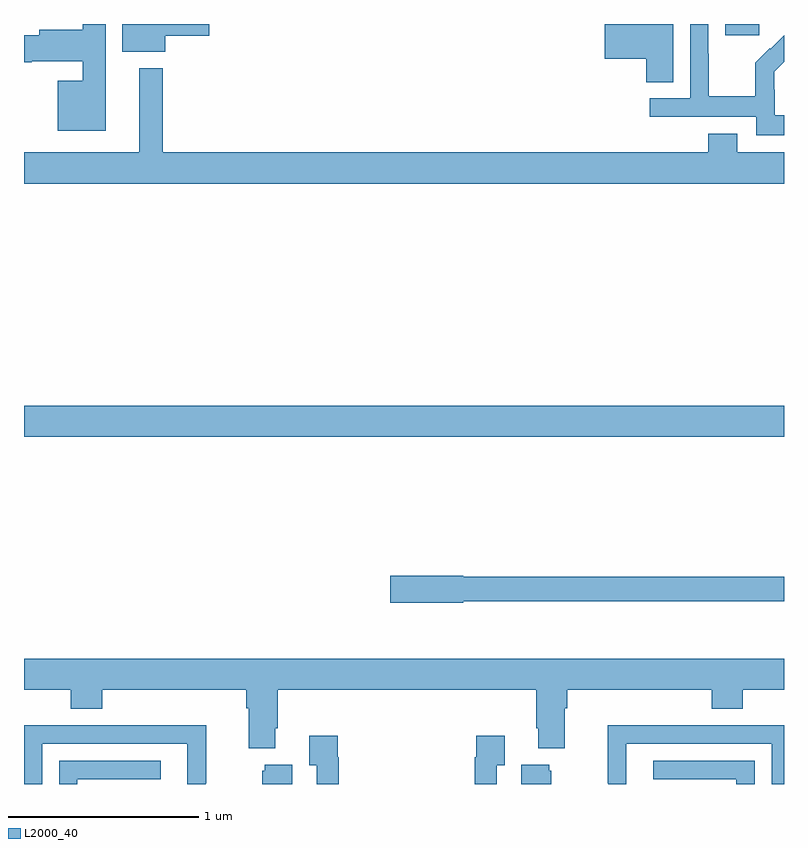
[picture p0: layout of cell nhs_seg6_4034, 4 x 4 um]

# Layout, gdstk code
import gdstk
lib = gdstk.Library(unit=1e-6, precision=1e-09)
def R(c, l, rs):  # rectangles x0, y0, x1, y1
    for r in rs: c.add(gdstk.rectangle(r[:2], r[2:], *l))
def P(c, l, *ps):  # polygons
    for p in ps: c.add(gdstk.Polygon(p, *l))
L2000_40 = (2000, 40)

nhs_seg6_4034 = lib.new_cell('nhs_seg6_4034')
R(nhs_seg6_4034, L2000_40, [(349,955.328,353,955.492), (352.691,957.441,352.87,957.5)])
P(nhs_seg6_4034, L2000_40, [(349.429,957.5),(349.308,957.5),(349.308,957.47),(349.079,957.47),(349.079,957.44),(349,957.44),(349,957.298),(349.042,957.298),(349.042,957.305),(349.308,957.305),(349.308,957.202),(349.178,957.202),(349.178,956.939),(349.429,956.939)],
  [(352.417,957.5),(352.056,957.5),(352.056,957.317),(352.274,957.317),(352.274,957.193),(352.417,957.193)],
  [(349.744,957.437),(349.975,957.437),(349.975,957.5),(349.517,957.5),(349.517,957.353),(349.744,957.353)],
  [(353,957.019),(352.95,957.019),(352.95,957.153),(352.948,957.153),(352.948,957.25),(353,957.302),(353,957.44),(352.929,957.369),(352.926,957.372),(352.849,957.295),(352.849,957.121),(352.605,957.121),(352.605,957.344),(352.602,957.344),(352.602,957.5),(352.506,957.5),(352.506,957.108),(352.293,957.108),(352.293,957.012),(352.854,957.012),(352.854,956.915),(353,956.915)],
  [(353,956.824),(352.753,956.824),(352.753,956.923),(352.601,956.923),(352.601,956.824),(349.729,956.824),(349.729,957.268),(349.607,957.268),(349.607,956.824),(349,956.824),(349,956.66),(353,956.66)],
  [(351.312,954.462),(353,954.462),(353,954.59),(351.312,954.59),(351.312,954.596),(350.928,954.596),(350.928,954.454),(351.312,954.454)],
  [(350.323,953.794),(350.336,953.794),(350.336,953.996),(351.695,953.996),(351.695,953.794),(351.707,953.794),(351.707,953.687),(351.847,953.687),(351.847,953.9),(351.86,953.9),(351.86,953.996),(352.619,953.996),(352.619,953.897),(352.784,953.897),(352.784,953.996),(353,953.996),(353,954.16),(349,954.16),(349,953.996),(349.247,953.996),(349.247,953.897),(349.412,953.897),(349.412,953.996),(350.171,953.996),(350.171,953.9),(350.183,953.9),(350.183,953.687),(350.323,953.687)],
  [(352.17,953.712),(352.935,953.712),(352.935,953.5),(353,953.5),(353,953.808),(352.535,953.808),(352.535,953.81),(352.072,953.81),(352.072,953.503),(352.074,953.503),(352.074,953.5),(352.17,953.5)],
  [(349.095,953.712),(349.86,953.712),(349.86,953.5),(349.956,953.5),(349.956,953.503),(349.959,953.503),(349.959,953.81),(349.495,953.81),(349.495,953.808),(349,953.808),(349,953.5),(349.095,953.5)],
  [(351.489,953.599),(351.529,953.599),(351.529,953.755),(351.381,953.755),(351.381,953.642),(351.373,953.642),(351.373,953.5),(351.489,953.5)],
  [(350.657,953.642),(350.65,953.642),(350.65,953.755),(350.501,953.755),(350.501,953.599),(350.541,953.599),(350.541,953.5),(350.657,953.5)],
  [(349.281,953.526),(349.72,953.526),(349.72,953.622),(349.185,953.622),(349.185,953.5),(349.281,953.5)],
  [(352.845,953.622),(352.311,953.622),(352.311,953.526),(352.749,953.526),(352.749,953.5),(352.845,953.5)],
  [(351.775,953.571),(351.764,953.571),(351.764,953.602),(351.617,953.602),(351.617,953.5),(351.775,953.5)],
  [(350.413,953.602),(350.267,953.602),(350.267,953.571),(350.255,953.571),(350.255,953.5),(350.413,953.5)])

lib.write_gds('nhs_seg6_4034.gds')
